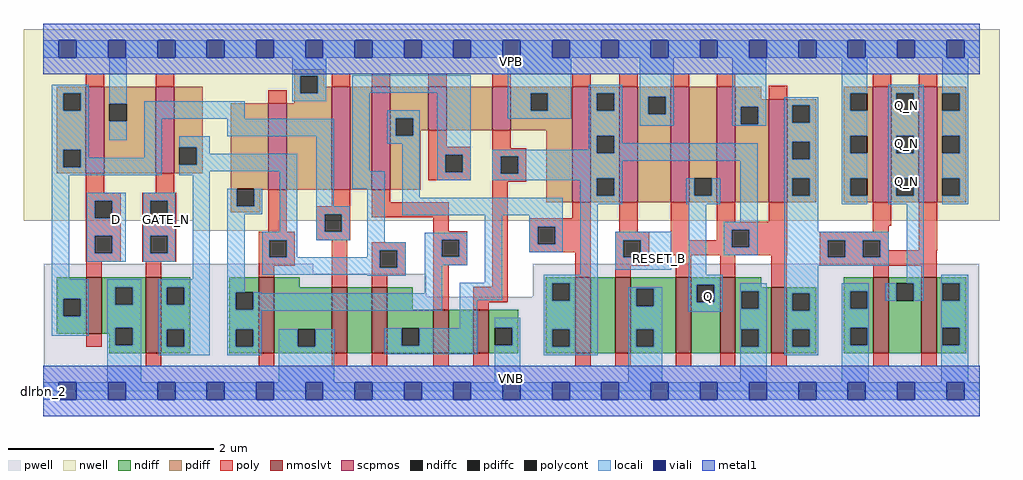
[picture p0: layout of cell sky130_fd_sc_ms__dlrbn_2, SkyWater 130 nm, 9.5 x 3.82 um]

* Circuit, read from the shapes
.subckt sky130_fd_sc_ms__dlrbn_2 D GATE_N RESET_B VGND VNB VPB VPWR Q Q_N
XM1 VGND D n1 VNB sky130_fd_pr__nfet_01v8_lvt w=0.55 l=0.15
XM2 n2 GATE_N VGND VNB sky130_fd_pr__nfet_01v8_lvt w=0.74 l=0.15
XM3 VGND n2 n3 VNB sky130_fd_pr__nfet_01v8_lvt w=0.74 l=0.15
XM4 n4 n1 VGND VNB sky130_fd_pr__nfet_01v8_lvt w=0.64 l=0.15
XM5 n5 n2 n4 VNB sky130_fd_pr__nfet_01v8_lvt w=0.64 l=0.15
XM6 n6 n3 n5 VNB sky130_fd_pr__nfet_01v8_lvt w=0.42 l=0.15
XM7 VGND n7 n6 VNB sky130_fd_pr__nfet_01v8_lvt w=0.42 l=0.15
XM8 n8 n5 n7 VNB sky130_fd_pr__nfet_01v8_lvt w=0.74 l=0.15
XM9 VGND RESET_B n8 VNB sky130_fd_pr__nfet_01v8_lvt w=0.74 l=0.15
XM10 Q n7 VGND VNB sky130_fd_pr__nfet_01v8_lvt w=0.74 l=0.15 m=2
XM11 n9 n7 VGND VNB sky130_fd_pr__nfet_01v8_lvt w=0.64 l=0.15
XM12 Q_N n9 VGND VNB sky130_fd_pr__nfet_01v8_lvt w=0.74 l=0.15 m=2
XM13 VPWR D n1 VPB sky130_fd_pr__pfet_01v8 w=0.84 l=0.18
XM14 n2 GATE_N VPWR VPB sky130_fd_pr__pfet_01v8 w=0.84 l=0.18
XM15 VPWR n2 n3 VPB sky130_fd_pr__pfet_01v8 w=0.84 l=0.18
XM16 n10 n1 VPWR VPB sky130_fd_pr__pfet_01v8 w=1 l=0.18
XM17 n5 n3 n10 VPB sky130_fd_pr__pfet_01v8 w=1 l=0.18
XM18 n11 n2 n5 VPB sky130_fd_pr__pfet_01v8 w=0.42 l=0.18
XM19 VPWR n7 n11 VPB sky130_fd_pr__pfet_01v8 w=0.42 l=0.18
XM20 n7 n5 VPWR VPB sky130_fd_pr__pfet_01v8 w=1.12 l=0.18
XM21 VPWR RESET_B n7 VPB sky130_fd_pr__pfet_01v8 w=1.12 l=0.18
XM22 Q n7 VPWR VPB sky130_fd_pr__pfet_01v8 w=1.12 l=0.18 m=2
XM23 n9 n7 VPWR VPB sky130_fd_pr__pfet_01v8 w=1 l=0.18
XM24 Q_N n9 VPWR VPB sky130_fd_pr__pfet_01v8 w=1.12 l=0.18 m=2
.ends

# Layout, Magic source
magic
tech sky130A
magscale 1 2
<< nwell >>
rect -38 332 1862 704
rect 291 312 459 332
<< pwell >>
rect 1 228 526 248
rect 1 184 746 228
rect 953 184 1823 248
rect 1 49 1823 184
rect 0 0 1824 49
<< scpmos >>
rect 83 424 119 592
rect 219 424 255 592
rect 438 392 474 560
rect 562 392 598 592
rect 640 392 676 592
rect 750 508 786 592
rect 875 508 911 592
rect 1030 368 1066 592
rect 1122 368 1158 592
rect 1222 368 1258 592
rect 1312 368 1348 592
rect 1413 368 1449 568
rect 1615 368 1651 592
rect 1705 368 1741 592
<< nmoslvt >>
rect 84 112 114 222
rect 200 74 230 222
rect 420 74 450 222
rect 562 74 592 202
rect 640 74 670 202
rect 760 74 790 158
rect 838 74 868 158
rect 1036 74 1066 222
rect 1114 74 1144 222
rect 1232 74 1262 222
rect 1318 74 1348 222
rect 1418 74 1448 202
rect 1616 74 1646 222
rect 1710 74 1740 222
<< ndiff >>
rect 27 180 84 222
rect 27 146 39 180
rect 73 146 84 180
rect 27 112 84 146
rect 114 202 200 222
rect 114 168 141 202
rect 175 168 200 202
rect 114 123 200 168
rect 114 112 141 123
rect 129 89 141 112
rect 175 89 200 123
rect 129 74 200 89
rect 230 202 287 222
rect 230 168 241 202
rect 275 168 287 202
rect 230 120 287 168
rect 230 86 241 120
rect 275 86 287 120
rect 230 74 287 86
rect 363 192 420 222
rect 363 158 375 192
rect 409 158 420 192
rect 363 120 420 158
rect 363 86 375 120
rect 409 86 420 120
rect 363 74 420 86
rect 450 202 500 222
rect 450 120 562 202
rect 450 86 496 120
rect 530 86 562 120
rect 450 74 562 86
rect 592 74 640 202
rect 670 158 720 202
rect 979 210 1036 222
rect 979 176 991 210
rect 1025 176 1036 210
rect 670 122 760 158
rect 670 88 698 122
rect 732 88 760 122
rect 670 74 760 88
rect 790 74 838 158
rect 868 123 925 158
rect 868 89 879 123
rect 913 89 925 123
rect 868 74 925 89
rect 979 120 1036 176
rect 979 86 991 120
rect 1025 86 1036 120
rect 979 74 1036 86
rect 1066 74 1114 222
rect 1144 199 1232 222
rect 1144 165 1155 199
rect 1189 165 1232 199
rect 1144 120 1232 165
rect 1144 86 1155 120
rect 1189 86 1232 120
rect 1144 74 1232 86
rect 1262 207 1318 222
rect 1262 173 1273 207
rect 1307 173 1318 207
rect 1262 74 1318 173
rect 1348 202 1398 222
rect 1348 194 1418 202
rect 1348 160 1359 194
rect 1393 160 1418 194
rect 1348 120 1418 160
rect 1348 86 1359 120
rect 1393 86 1418 120
rect 1348 74 1418 86
rect 1448 190 1505 202
rect 1448 156 1459 190
rect 1493 156 1505 190
rect 1448 120 1505 156
rect 1448 86 1459 120
rect 1493 86 1505 120
rect 1448 74 1505 86
rect 1559 194 1616 222
rect 1559 160 1571 194
rect 1605 160 1616 194
rect 1559 123 1616 160
rect 1559 89 1571 123
rect 1605 89 1616 123
rect 1559 74 1616 89
rect 1646 210 1710 222
rect 1646 176 1661 210
rect 1695 176 1710 210
rect 1646 74 1710 176
rect 1740 210 1797 222
rect 1740 176 1751 210
rect 1785 176 1797 210
rect 1740 123 1797 176
rect 1740 89 1751 123
rect 1785 89 1797 123
rect 1740 74 1797 89
<< pdiff >>
rect 489 614 547 626
rect 27 580 83 592
rect 27 546 39 580
rect 73 546 83 580
rect 27 470 83 546
rect 27 436 39 470
rect 73 436 83 470
rect 27 424 83 436
rect 119 559 219 592
rect 119 525 129 559
rect 163 525 219 559
rect 119 424 219 525
rect 255 475 311 592
rect 489 580 501 614
rect 535 592 547 614
rect 535 580 562 592
rect 489 560 562 580
rect 255 441 265 475
rect 299 441 311 475
rect 255 424 311 441
rect 365 394 438 560
rect 365 360 377 394
rect 411 392 438 394
rect 474 392 562 560
rect 598 392 640 592
rect 676 531 750 592
rect 676 497 687 531
rect 721 508 750 531
rect 786 508 875 592
rect 911 580 1030 592
rect 911 546 949 580
rect 983 546 1030 580
rect 911 508 1030 546
rect 721 497 735 508
rect 676 392 735 497
rect 411 360 423 392
rect 365 348 423 360
rect 980 368 1030 508
rect 1066 580 1122 592
rect 1066 546 1078 580
rect 1112 546 1122 580
rect 1066 497 1122 546
rect 1066 463 1078 497
rect 1112 463 1122 497
rect 1066 414 1122 463
rect 1066 380 1078 414
rect 1112 380 1122 414
rect 1066 368 1122 380
rect 1158 573 1222 592
rect 1158 539 1178 573
rect 1212 539 1222 573
rect 1158 368 1222 539
rect 1258 414 1312 592
rect 1258 380 1268 414
rect 1302 380 1312 414
rect 1258 368 1312 380
rect 1348 568 1398 592
rect 1559 580 1615 592
rect 1348 553 1413 568
rect 1348 519 1358 553
rect 1392 519 1413 553
rect 1348 368 1413 519
rect 1449 556 1505 568
rect 1449 522 1459 556
rect 1493 522 1505 556
rect 1449 485 1505 522
rect 1449 451 1459 485
rect 1493 451 1505 485
rect 1449 414 1505 451
rect 1449 380 1459 414
rect 1493 380 1505 414
rect 1449 368 1505 380
rect 1559 546 1571 580
rect 1605 546 1615 580
rect 1559 497 1615 546
rect 1559 463 1571 497
rect 1605 463 1615 497
rect 1559 414 1615 463
rect 1559 380 1571 414
rect 1605 380 1615 414
rect 1559 368 1615 380
rect 1651 580 1705 592
rect 1651 546 1661 580
rect 1695 546 1705 580
rect 1651 497 1705 546
rect 1651 463 1661 497
rect 1695 463 1705 497
rect 1651 414 1705 463
rect 1651 380 1661 414
rect 1695 380 1705 414
rect 1651 368 1705 380
rect 1741 580 1797 592
rect 1741 546 1751 580
rect 1785 546 1797 580
rect 1741 497 1797 546
rect 1741 463 1751 497
rect 1785 463 1797 497
rect 1741 414 1797 463
rect 1741 380 1751 414
rect 1785 380 1797 414
rect 1741 368 1797 380
<< ndiffc >>
rect 39 146 73 180
rect 141 168 175 202
rect 141 89 175 123
rect 241 168 275 202
rect 241 86 275 120
rect 375 158 409 192
rect 375 86 409 120
rect 496 86 530 120
rect 991 176 1025 210
rect 698 88 732 122
rect 879 89 913 123
rect 991 86 1025 120
rect 1155 165 1189 199
rect 1155 86 1189 120
rect 1273 173 1307 207
rect 1359 160 1393 194
rect 1359 86 1393 120
rect 1459 156 1493 190
rect 1459 86 1493 120
rect 1571 160 1605 194
rect 1571 89 1605 123
rect 1661 176 1695 210
rect 1751 176 1785 210
rect 1751 89 1785 123
<< pdiffc >>
rect 39 546 73 580
rect 39 436 73 470
rect 129 525 163 559
rect 501 580 535 614
rect 265 441 299 475
rect 377 360 411 394
rect 687 497 721 531
rect 949 546 983 580
rect 1078 546 1112 580
rect 1078 463 1112 497
rect 1078 380 1112 414
rect 1178 539 1212 573
rect 1268 380 1302 414
rect 1358 519 1392 553
rect 1459 522 1493 556
rect 1459 451 1493 485
rect 1459 380 1493 414
rect 1571 546 1605 580
rect 1571 463 1605 497
rect 1571 380 1605 414
rect 1661 546 1695 580
rect 1661 463 1695 497
rect 1661 380 1695 414
rect 1751 546 1785 580
rect 1751 463 1785 497
rect 1751 380 1785 414
<< poly >>
rect 83 592 119 618
rect 219 592 255 618
rect 438 560 474 586
rect 562 592 598 618
rect 640 592 676 618
rect 750 592 786 618
rect 875 592 911 618
rect 1030 592 1066 618
rect 1122 592 1158 618
rect 1222 592 1258 618
rect 1312 592 1348 618
rect 83 386 119 424
rect 219 386 255 424
rect 83 370 151 386
rect 83 336 101 370
rect 135 336 151 370
rect 83 302 151 336
rect 83 268 101 302
rect 135 268 151 302
rect 83 252 151 268
rect 193 370 259 386
rect 193 336 209 370
rect 243 336 259 370
rect 750 476 786 508
rect 750 460 833 476
rect 750 426 783 460
rect 817 426 833 460
rect 750 410 833 426
rect 875 473 911 508
rect 875 457 941 473
rect 875 423 891 457
rect 925 423 941 457
rect 875 407 941 423
rect 193 302 259 336
rect 438 310 474 392
rect 562 360 598 392
rect 532 344 598 360
rect 532 310 548 344
rect 582 310 598 344
rect 640 368 676 392
rect 640 338 790 368
rect 193 268 209 302
rect 243 268 259 302
rect 193 252 259 268
rect 420 294 490 310
rect 532 294 598 310
rect 760 311 790 338
rect 760 295 826 311
rect 420 260 440 294
rect 474 260 490 294
rect 84 222 114 252
rect 200 222 230 252
rect 420 244 490 260
rect 420 222 450 244
rect 84 86 114 112
rect 562 202 592 294
rect 640 274 706 290
rect 640 240 656 274
rect 690 240 706 274
rect 640 224 706 240
rect 760 261 776 295
rect 810 261 826 295
rect 760 245 826 261
rect 640 202 670 224
rect 760 158 790 245
rect 875 203 905 407
rect 1413 568 1449 594
rect 1615 592 1651 618
rect 1705 592 1741 618
rect 1030 336 1066 368
rect 947 320 1066 336
rect 947 286 963 320
rect 997 286 1066 320
rect 1122 310 1158 368
rect 947 270 1066 286
rect 1036 222 1066 270
rect 1114 294 1180 310
rect 1114 260 1130 294
rect 1164 260 1180 294
rect 1222 294 1258 368
rect 1312 330 1348 368
rect 1413 330 1449 368
rect 1312 314 1449 330
rect 1312 294 1341 314
rect 1222 280 1341 294
rect 1375 280 1449 314
rect 1615 322 1651 368
rect 1615 310 1646 322
rect 1222 264 1449 280
rect 1512 294 1646 310
rect 1114 244 1180 260
rect 1114 222 1144 244
rect 1232 222 1262 264
rect 1318 222 1348 264
rect 838 173 905 203
rect 838 158 868 173
rect 1418 202 1448 264
rect 1512 260 1528 294
rect 1562 260 1596 294
rect 1630 274 1646 294
rect 1705 274 1741 368
rect 1630 260 1740 274
rect 1512 244 1740 260
rect 1616 222 1646 244
rect 1710 222 1740 244
rect 200 48 230 74
rect 420 48 450 74
rect 562 48 592 74
rect 640 48 670 74
rect 760 48 790 74
rect 838 48 868 74
rect 1036 48 1066 74
rect 1114 48 1144 74
rect 1232 48 1262 74
rect 1318 48 1348 74
rect 1418 48 1448 74
rect 1616 48 1646 74
rect 1710 48 1740 74
<< polycont >>
rect 101 336 135 370
rect 101 268 135 302
rect 209 336 243 370
rect 783 426 817 460
rect 891 423 925 457
rect 548 310 582 344
rect 209 268 243 302
rect 440 260 474 294
rect 656 240 690 274
rect 776 261 810 295
rect 963 286 997 320
rect 1130 260 1164 294
rect 1341 280 1375 314
rect 1528 260 1562 294
rect 1596 260 1630 294
<< locali >>
rect 0 649 31 683
rect 65 649 127 683
rect 161 649 223 683
rect 257 649 319 683
rect 353 649 415 683
rect 449 649 511 683
rect 545 649 607 683
rect 641 649 703 683
rect 737 649 799 683
rect 833 649 895 683
rect 929 649 991 683
rect 1025 649 1087 683
rect 1121 649 1183 683
rect 1217 649 1279 683
rect 1313 649 1375 683
rect 1409 649 1471 683
rect 1505 649 1567 683
rect 1601 649 1663 683
rect 1697 649 1759 683
rect 1793 649 1824 683
rect 17 580 89 596
rect 17 546 39 580
rect 73 546 89 580
rect 17 470 89 546
rect 129 559 163 649
rect 485 614 551 649
rect 485 580 501 614
rect 535 580 551 614
rect 485 564 551 580
rect 602 581 833 615
rect 129 488 163 525
rect 197 530 393 564
rect 17 436 39 470
rect 73 454 89 470
rect 197 454 231 530
rect 359 496 566 530
rect 73 436 231 454
rect 17 420 231 436
rect 265 475 325 496
rect 299 462 325 475
rect 299 441 495 462
rect 265 428 495 441
rect 265 420 325 428
rect 17 218 51 420
rect 85 370 161 386
rect 85 336 101 370
rect 135 336 161 370
rect 85 302 161 336
rect 85 268 101 302
rect 135 268 161 302
rect 85 252 161 268
rect 195 370 257 386
rect 195 336 209 370
rect 243 336 257 370
rect 195 302 257 336
rect 195 268 209 302
rect 243 268 257 302
rect 195 252 257 268
rect 291 218 325 420
rect 17 180 89 218
rect 17 146 39 180
rect 73 146 89 180
rect 17 108 89 146
rect 125 202 191 218
rect 125 168 141 202
rect 175 168 191 202
rect 125 123 191 168
rect 125 89 141 123
rect 175 89 191 123
rect 125 17 191 89
rect 225 202 325 218
rect 225 168 241 202
rect 275 168 325 202
rect 225 120 325 168
rect 225 86 241 120
rect 275 86 325 120
rect 225 70 325 86
rect 359 360 377 394
rect 411 360 427 394
rect 359 344 427 360
rect 359 192 393 344
rect 461 310 495 428
rect 427 294 495 310
rect 532 360 566 496
rect 602 428 636 581
rect 670 531 733 547
rect 670 497 687 531
rect 721 497 733 531
rect 670 481 733 497
rect 602 394 665 428
rect 532 344 597 360
rect 532 310 548 344
rect 582 310 597 344
rect 532 294 597 310
rect 427 260 440 294
rect 474 260 495 294
rect 631 290 665 394
rect 699 376 733 481
rect 767 460 833 581
rect 905 580 1028 649
rect 905 546 949 580
rect 983 546 1028 580
rect 905 530 1028 546
rect 1062 580 1128 596
rect 1062 546 1078 580
rect 1112 546 1128 580
rect 1062 497 1128 546
rect 1162 573 1228 649
rect 1162 539 1178 573
rect 1212 539 1228 573
rect 1162 516 1228 539
rect 1342 553 1408 649
rect 1555 580 1605 649
rect 1342 519 1358 553
rect 1392 519 1408 553
rect 1342 516 1408 519
rect 1443 556 1509 572
rect 1443 522 1459 556
rect 1493 522 1509 556
rect 1062 470 1078 497
rect 767 426 783 460
rect 817 426 833 460
rect 767 410 833 426
rect 875 463 1078 470
rect 1112 482 1128 497
rect 1443 485 1509 522
rect 1112 463 1391 482
rect 875 457 1391 463
rect 875 423 891 457
rect 925 448 1391 457
rect 925 423 1128 448
rect 875 414 1128 423
rect 875 410 1078 414
rect 1046 380 1078 410
rect 1112 380 1128 414
rect 699 342 1012 376
rect 743 295 826 308
rect 631 274 706 290
rect 631 260 656 274
rect 427 240 656 260
rect 690 240 706 274
rect 427 226 706 240
rect 631 224 706 226
rect 743 261 776 295
rect 810 261 826 295
rect 743 245 826 261
rect 359 158 375 192
rect 409 190 425 192
rect 743 190 777 245
rect 860 211 894 342
rect 947 320 1012 342
rect 947 286 963 320
rect 997 286 1012 320
rect 947 270 1012 286
rect 1046 364 1128 380
rect 1252 380 1268 414
rect 1302 380 1318 414
rect 1252 364 1318 380
rect 1046 226 1080 364
rect 1114 294 1223 310
rect 1114 260 1130 294
rect 1164 260 1223 294
rect 1114 236 1223 260
rect 409 158 777 190
rect 359 156 777 158
rect 811 177 894 211
rect 975 210 1080 226
rect 359 120 425 156
rect 811 122 845 177
rect 975 176 991 210
rect 1025 176 1080 210
rect 1257 226 1291 364
rect 1357 330 1391 448
rect 1325 314 1391 330
rect 1325 280 1341 314
rect 1375 280 1391 314
rect 1325 264 1391 280
rect 1443 451 1459 485
rect 1493 451 1509 485
rect 1443 414 1509 451
rect 1443 380 1459 414
rect 1493 380 1509 414
rect 1443 310 1509 380
rect 1555 546 1571 580
rect 1555 497 1605 546
rect 1555 463 1571 497
rect 1555 414 1605 463
rect 1555 380 1571 414
rect 1555 364 1605 380
rect 1645 580 1715 596
rect 1645 546 1661 580
rect 1695 546 1715 580
rect 1645 497 1715 546
rect 1645 463 1661 497
rect 1695 463 1715 497
rect 1645 414 1715 463
rect 1645 380 1661 414
rect 1695 380 1715 414
rect 1645 364 1715 380
rect 1751 580 1801 649
rect 1785 546 1801 580
rect 1751 497 1801 546
rect 1785 463 1801 497
rect 1751 414 1801 463
rect 1785 380 1801 414
rect 1751 364 1801 380
rect 1443 294 1646 310
rect 1443 260 1528 294
rect 1562 260 1596 294
rect 1630 260 1646 294
rect 1443 244 1646 260
rect 1257 207 1323 226
rect 359 86 375 120
rect 409 86 425 120
rect 359 70 425 86
rect 459 86 496 120
rect 530 86 567 120
rect 459 17 567 86
rect 665 88 698 122
rect 732 88 845 122
rect 665 72 845 88
rect 879 123 929 143
rect 913 89 929 123
rect 879 17 929 89
rect 975 120 1080 176
rect 975 86 991 120
rect 1025 86 1080 120
rect 975 70 1080 86
rect 1139 199 1205 202
rect 1139 165 1155 199
rect 1189 165 1205 199
rect 1139 120 1205 165
rect 1257 173 1273 207
rect 1307 173 1323 207
rect 1257 154 1323 173
rect 1357 194 1409 210
rect 1357 160 1359 194
rect 1393 160 1409 194
rect 1139 86 1155 120
rect 1189 86 1205 120
rect 1139 17 1205 86
rect 1357 120 1409 160
rect 1357 86 1359 120
rect 1393 86 1409 120
rect 1357 17 1409 86
rect 1443 190 1509 244
rect 1681 210 1715 364
rect 1443 156 1459 190
rect 1493 156 1509 190
rect 1443 120 1509 156
rect 1443 86 1459 120
rect 1493 86 1509 120
rect 1443 70 1509 86
rect 1555 194 1607 210
rect 1555 160 1571 194
rect 1605 160 1607 194
rect 1641 176 1661 210
rect 1695 176 1715 210
rect 1749 210 1801 226
rect 1749 176 1751 210
rect 1785 176 1801 210
rect 1555 123 1607 160
rect 1555 89 1571 123
rect 1605 89 1607 123
rect 1555 17 1607 89
rect 1749 123 1801 176
rect 1749 89 1751 123
rect 1785 89 1801 123
rect 1749 17 1801 89
rect 0 -17 31 17
rect 65 -17 127 17
rect 161 -17 223 17
rect 257 -17 319 17
rect 353 -17 415 17
rect 449 -17 511 17
rect 545 -17 607 17
rect 641 -17 703 17
rect 737 -17 799 17
rect 833 -17 895 17
rect 929 -17 991 17
rect 1025 -17 1087 17
rect 1121 -17 1183 17
rect 1217 -17 1279 17
rect 1313 -17 1375 17
rect 1409 -17 1471 17
rect 1505 -17 1567 17
rect 1601 -17 1663 17
rect 1697 -17 1759 17
rect 1793 -17 1824 17
<< viali >>
rect 31 649 65 683
rect 127 649 161 683
rect 223 649 257 683
rect 319 649 353 683
rect 415 649 449 683
rect 511 649 545 683
rect 607 649 641 683
rect 703 649 737 683
rect 799 649 833 683
rect 895 649 929 683
rect 991 649 1025 683
rect 1087 649 1121 683
rect 1183 649 1217 683
rect 1279 649 1313 683
rect 1375 649 1409 683
rect 1471 649 1505 683
rect 1567 649 1601 683
rect 1663 649 1697 683
rect 1759 649 1793 683
rect 31 -17 65 17
rect 127 -17 161 17
rect 223 -17 257 17
rect 319 -17 353 17
rect 415 -17 449 17
rect 511 -17 545 17
rect 607 -17 641 17
rect 703 -17 737 17
rect 799 -17 833 17
rect 895 -17 929 17
rect 991 -17 1025 17
rect 1087 -17 1121 17
rect 1183 -17 1217 17
rect 1279 -17 1313 17
rect 1375 -17 1409 17
rect 1471 -17 1505 17
rect 1567 -17 1601 17
rect 1663 -17 1697 17
rect 1759 -17 1793 17
<< metal1 >>
rect 0 683 1824 715
rect 0 649 31 683
rect 65 649 127 683
rect 161 649 223 683
rect 257 649 319 683
rect 353 649 415 683
rect 449 649 511 683
rect 545 649 607 683
rect 641 649 703 683
rect 737 649 799 683
rect 833 649 895 683
rect 929 649 991 683
rect 1025 649 1087 683
rect 1121 649 1183 683
rect 1217 649 1279 683
rect 1313 649 1375 683
rect 1409 649 1471 683
rect 1505 649 1567 683
rect 1601 649 1663 683
rect 1697 649 1759 683
rect 1793 649 1824 683
rect 0 617 1824 649
rect 0 17 1824 49
rect 0 -17 31 17
rect 65 -17 127 17
rect 161 -17 223 17
rect 257 -17 319 17
rect 353 -17 415 17
rect 449 -17 511 17
rect 545 -17 607 17
rect 641 -17 703 17
rect 737 -17 799 17
rect 833 -17 895 17
rect 929 -17 991 17
rect 1025 -17 1087 17
rect 1121 -17 1183 17
rect 1217 -17 1279 17
rect 1313 -17 1375 17
rect 1409 -17 1471 17
rect 1505 -17 1567 17
rect 1601 -17 1663 17
rect 1697 -17 1759 17
rect 1793 -17 1824 17
rect 0 -49 1824 -17
<< labels >>
flabel pwell s 0 0 1824 49 0 FreeSans 200 0 0 0 VNB
port 5 nsew ground bidirectional
flabel nwell s 0 617 1824 666 0 FreeSans 200 0 0 0 VPB
port 6 nsew power bidirectional
rlabel comment s 0 0 0 0 4 dlrbn_2
flabel metal1 s 0 617 1824 666 0 FreeSans 340 0 0 0 VPWR
port 7 nsew power bidirectional
flabel metal1 s 0 0 1824 49 0 FreeSans 340 0 0 0 VGND
port 4 nsew ground bidirectional
flabel locali s 127 316 161 350 0 FreeSans 340 0 0 0 D
port 1 nsew signal input
flabel locali s 223 316 257 350 0 FreeSans 340 0 0 0 GATE_N
port 2 nsew clock input
flabel locali s 1183 242 1217 276 0 FreeSans 340 0 0 0 RESET_B
port 3 nsew signal input
flabel locali s 1279 168 1313 202 0 FreeSans 340 0 0 0 Q
port 8 nsew signal output
flabel locali s 1663 390 1697 424 0 FreeSans 340 0 0 0 Q_N
port 9 nsew signal output
flabel locali s 1663 464 1697 498 0 FreeSans 340 0 0 0 Q_N
port 9 nsew signal output
flabel locali s 1663 538 1697 572 0 FreeSans 340 0 0 0 Q_N
port 9 nsew signal output
<< properties >>
string LEFsite unit
string LEFclass CORE
string FIXED_BBOX 0 0 1824 666
string GDS_FILE $PDKPATH/libs.ref/sky130_fd_sc_ms/gds/sky130_fd_sc_ms.gds
string LEFsymmetry X Y
string GDS_END 3289464
string GDS_START 3275912
<< end >>
